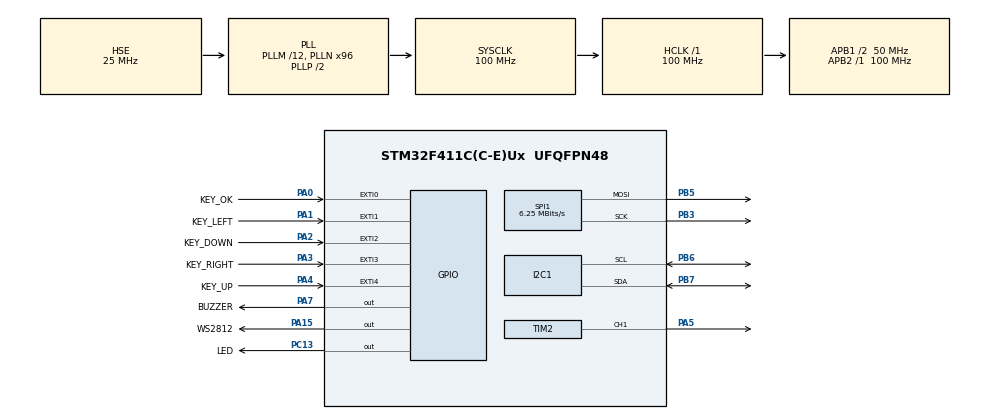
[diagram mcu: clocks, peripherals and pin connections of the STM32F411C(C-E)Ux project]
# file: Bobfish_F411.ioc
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Dma.I2C1_TX.0.Direction=DMA_MEMORY_TO_PERIPH
Dma.I2C1_TX.0.FIFOMode=DMA_FIFOMODE_DISABLE
Dma.I2C1_TX.0.Instance=DMA1_Stream1
Dma.I2C1_TX.0.MemDataAlignment=DMA_MDATAALIGN_BYTE
Dma.I2C1_TX.0.MemInc=DMA_MINC_ENABLE
Dma.I2C1_TX.0.Mode=DMA_NORMAL
Dma.I2C1_TX.0.PeriphDataAlignment=DMA_PDATAALIGN_BYTE
Dma.I2C1_TX.0.PeriphInc=DMA_PINC_DISABLE
Dma.I2C1_TX.0.Priority=DMA_PRIORITY_HIGH
Dma.Request0=I2C1_TX
Dma.Request1=SPI1_TX
Dma.Request2=TIM2_CH1
Dma.SPI1_TX.1.Direction=DMA_MEMORY_TO_PERIPH
Dma.SPI1_TX.1.FIFOMode=DMA_FIFOMODE_DISABLE
Dma.SPI1_TX.1.Instance=DMA2_Stream2
Dma.SPI1_TX.1.MemDataAlignment=DMA_MDATAALIGN_BYTE
Dma.SPI1_TX.1.MemInc=DMA_MINC_ENABLE
Dma.SPI1_TX.1.Mode=DMA_CIRCULAR
Dma.SPI1_TX.1.PeriphDataAlignment=DMA_PDATAALIGN_BYTE
Dma.SPI1_TX.1.PeriphInc=DMA_PINC_DISABLE
Dma.SPI1_TX.1.Priority=DMA_PRIORITY_VERY_HIGH
Dma.TIM2_CH1.2.Direction=DMA_MEMORY_TO_PERIPH
Dma.TIM2_CH1.2.FIFOMode=DMA_FIFOMODE_DISABLE
Dma.TIM2_CH1.2.Instance=DMA1_Stream5
Dma.TIM2_CH1.2.MemDataAlignment=DMA_MDATAALIGN_WORD
Dma.TIM2_CH1.2.MemInc=DMA_MINC_ENABLE
Dma.TIM2_CH1.2.Mode=DMA_CIRCULAR
Dma.TIM2_CH1.2.PeriphDataAlignment=DMA_PDATAALIGN_WORD
Dma.TIM2_CH1.2.PeriphInc=DMA_PINC_DISABLE
Dma.TIM2_CH1.2.Priority=DMA_PRIORITY_LOW
I2C1.I2C_Mode=I2C_Fast
Mcu.Family=STM32F4
Mcu.Name=STM32F411C(C-E)Ux
Mcu.Package=UFQFPN48
NVIC.DMA1_Stream1_IRQn=true\:0\:0\:false\:false\:true\:false\:true
NVIC.DMA1_Stream5_IRQn=true\:0\:0\:false\:false\:true\:false\:true
NVIC.DMA2_Stream2_IRQn=true\:0\:0\:false\:false\:true\:false\:true
NVIC.EXTI0_IRQn=true\:0\:0\:false\:false\:true\:true\:true
NVIC.EXTI1_IRQn=true\:0\:0\:false\:false\:true\:true\:true
NVIC.EXTI2_IRQn=true\:0\:0\:false\:false\:true\:true\:true
NVIC.EXTI3_IRQn=true\:0\:0\:false\:false\:true\:true\:true
NVIC.EXTI4_IRQn=true\:0\:0\:false\:false\:true\:true\:true
NVIC.I2C1_EV_IRQn=true\:0\:0\:false\:false\:true\:true\:true
NVIC.PriorityGroup=NVIC_PRIORITYGROUP_4
NVIC.SPI1_IRQn=true\:0\:0\:false\:false\:true\:true\:true
NVIC.TIM2_IRQn=true\:0\:0\:false\:false\:true\:true\:true
NVIC.TIM3_IRQn=true\:0\:0\:false\:false\:true\:true\:true
PA0-WKUP.GPIO_Label=KEY_OK
PA0-WKUP.GPIO_ModeDefaultEXTI=GPIO_MODE_IT_RISING_FALLING
PA0-WKUP.Signal=GPXTI0
PA1.GPIO_Label=KEY_LEFT
PA1.GPIO_ModeDefaultEXTI=GPIO_MODE_IT_RISING_FALLING
PA1.Signal=GPXTI1
PA13.Mode=Serial_Wire
PA13.Signal=SYS_JTMS-SWDIO
PA14.Mode=Serial_Wire
PA14.Signal=SYS_JTCK-SWCLK
PA15.GPIO_Label=WS2812
PA15.Signal=GPIO_Output
PA2.GPIO_Label=KEY_DOWN
PA2.GPIO_ModeDefaultEXTI=GPIO_MODE_IT_RISING_FALLING
PA2.Signal=GPXTI2
PA3.GPIO_Label=KEY_RIGHT
PA3.GPIO_ModeDefaultEXTI=GPIO_MODE_IT_RISING_FALLING
PA3.Signal=GPXTI3
PA4.GPIO_Label=KEY_UP
PA4.GPIO_ModeDefaultEXTI=GPIO_MODE_IT_RISING_FALLING
PA4.Signal=GPXTI4
PA5.Signal=S_TIM2_CH1_ETR
PA7.GPIO_Label=BUZZER
PA7.Signal=GPIO_Output
PB3.Mode=TX_Only_Simplex_Unidirect_Master
PB3.Signal=SPI1_SCK
PB5.Mode=TX_Only_Simplex_Unidirect_Master
PB5.Signal=SPI1_MOSI
PB6.GPIO_Pu=GPIO_PULLUP
PB6.Mode=I2C
PB6.Signal=I2C1_SCL
PB7.GPIO_Pu=GPIO_PULLUP
PB7.Mode=I2C
PB7.Signal=I2C1_SDA
PC13-ANTI_TAMP.GPIO_Label=LED
PC13-ANTI_TAMP.PinState=GPIO_PIN_SET
PC13-ANTI_TAMP.Signal=GPIO_Output
PC14-OSC32_IN.Mode=LSE-External-Oscillator
PC14-OSC32_IN.Signal=RCC_OSC32_IN
PC15-OSC32_OUT.Mode=LSE-External-Oscillator
PC15-OSC32_OUT.Signal=RCC_OSC32_OUT
PH0\ -\ OSC_IN.Mode=HSE-External-Oscillator
PH0\ -\ OSC_IN.Signal=RCC_OSC_IN
PH1\ -\ OSC_OUT.Mode=HSE-External-Oscillator
PH1\ -\ OSC_OUT.Signal=RCC_OSC_OUT
ProjectManager.HeapSize=0x200
ProjectManager.StackSize=0x400
ProjectManager.TargetToolchain=STM32CubeIDE
RCC.48MHZClocksFreq_Value=50000000
RCC.AHBFreq_Value=100000000
RCC.APB1CLKDivider=RCC_HCLK_DIV2
RCC.APB1Freq_Value=50000000
RCC.APB1TimFreq_Value=100000000
RCC.APB2Freq_Value=100000000
RCC.APB2TimFreq_Value=100000000
RCC.CortexFreq_Value=100000000
RCC.HCLKFreq_Value=100000000
RCC.HSE_VALUE=25000000
RCC.HSI_VALUE=16000000
RCC.PLLM=12
RCC.PLLN=96
RCC.PLLSourceVirtual=RCC_PLLSOURCE_HSE
RCC.RCC_RTC_Clock_Source=RCC_RTCCLKSOURCE_LSE
RCC.RCC_RTC_Clock_SourceVirtual=RCC_RTCCLKSOURCE_LSE
RCC.SYSCLKFreq_VALUE=100000000
RCC.SYSCLKSource=RCC_SYSCLKSOURCE_PLLCLK
RCC.VCOOutputFreq_Value=200000000
RTC.Date=28
RTC.Hours=12
RTC.Month=RTC_MONTH_MARCH
RTC.WeekDay=RTC_WEEKDAY_SATURDAY
RTC.Year=20
SH.S_TIM2_CH1_ETR.0=TIM2_CH1,PWM Generation1 CH1
SPI1.BaudRatePrescaler=SPI_BAUDRATEPRESCALER_16
SPI1.CLKPolarity=SPI_POLARITY_LOW
SPI1.CalculateBaudRate=6.25 MBits/s
SPI1.Direction=SPI_DIRECTION_2LINES
SPI1.Mode=SPI_MODE_MASTER
SPI1.VirtualType=VM_MASTER
TIM2.Channel-PWM\ Generation1\ CH1=TIM_CHANNEL_1
TIM2.Period=125
TIM3.Period=20-1
TIM3.Prescaler=50000
VP_RTC_VS_RTC_Activate.Mode=RTC_Enabled
VP_RTC_VS_RTC_Calendar.Mode=RTC_Calendar
VP_TIM2_VS_ClockSourceINT.Mode=Internal
VP_TIM3_VS_ClockSourceINT.Mode=Internal
board=custom

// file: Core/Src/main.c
/* USER CODE BEGIN Header */
/**
  ******************************************************************************
  * @file           : main.c
  * @brief          : Main program body
  ******************************************************************************
  * @attention
  *
  * <h2><center>&copy; Copyright (c) 2020 STMicroelectronics.
  * All rights reserved.</center></h2>
  *
  * This software component is licensed by ST under BSD 3-Clause license,
  * the "License"; You may not use this file except in compliance with the
  * License. You may obtain a copy of the License at:
  *                        opensource.org/licenses/BSD-3-Clause
  *
  ******************************************************************************
  */
/* USER CODE END Header */
#include "main.h"
#include "dma.h"
#include "i2c.h"
#include "rtc.h"
#include "spi.h"
#include "tim.h"
#include "gpio.h"

/* USER CODE BEGIN Includes */
#include "../WS_2812B_TIMER/ws2812b_tim.h"
#include "../MENU/menu.h"
#include "../BITMAPS/bitmaps.h"
#include "keyb.h"
#include "../EE_lib/ee.h"

/* USER CODE END Includes */

/* USER CODE BEGIN PV */
RTC_TimeTypeDef RtcTime;
RTC_DateTypeDef RtcDate;
uint8_t KEY_STATE;
uint32_t test_val;

/* USER CODE END PV */

void SystemClock_Config(void);
/* USER CODE BEGIN PFP */

void HAL_SYSTICK_Callback(void)
{
	//HAL_GPIO_TogglePin(LED_GPIO_Port, LED_Pin);
	//WS2812BFX_SysTickCallback();	// FX effects software timers
}

void HAL_TIM_PeriodElapsedCallback(TIM_HandleTypeDef *htim) {
	//wywo³ywanie funkcji sprawdzaj¹cej klawisze co 10ms
	if (htim->Instance == TIM3) KeybProc();
}

void HAL_GPIO_EXTI_Callback(uint16_t GPIO_Pin) {
//				43210
// KEY_STATE=xxxODRUL

	if (HAL_GPIO_ReadPin(KEY_LEFT_GPIO_Port, GPIO_Pin) == GPIO_PIN_RESET) {
		switch (GPIO_Pin) {

		case KEY_LEFT_Pin:
			KEY_STATE |= KEY_LEFT;
			//WS2812BFX_PrevMode(0);
			break;
		case KEY_UP_Pin:
			KEY_STATE |= KEY_UP;
			break;
		case KEY_RIGHT_Pin:
			KEY_STATE |= KEY_RIGHT;
			//WS2812BFX_NextMode(0);
			break;
		case KEY_DOWN_Pin:
			KEY_STATE |= KEY_DOWN;
			break;
		case KEY_OK_Pin:
			KEY_STATE |= KEY_OK;
			//HAL_GPIO_WritePin(BUZZER_GPIO_Port, BUZZER_Pin, GPIO_PIN_SET);
			break;
		}
	} else {
		switch (GPIO_Pin) {

		case KEY_LEFT_Pin:
			KEY_STATE &= ~KEY_LEFT;
			break;
		case KEY_UP_Pin:
			KEY_STATE &= ~KEY_UP;
			break;
		case KEY_RIGHT_Pin:
			KEY_STATE &= ~KEY_RIGHT;
			break;
		case KEY_DOWN_Pin:
			KEY_STATE &= ~KEY_DOWN;
			break;
		case KEY_OK_Pin:
			KEY_STATE &= ~KEY_OK;
			//HAL_GPIO_WritePin(BUZZER_GPIO_Port, BUZZER_Pin, GPIO_PIN_RESET);
			break;
		}
	}

}

/* USER CODE END PFP */

int main(void)
{

  /* MCU Configuration--------------------------------------------------------*/

  /* Reset of all peripherals, Initializes the Flash interface and the Systick. */
  HAL_Init();

  /* Configure the system clock */
  SystemClock_Config();

  /* Initialize all configured peripherals */
  MX_GPIO_Init();
  MX_DMA_Init();
  MX_I2C1_Init();
  MX_RTC_Init();
  MX_TIM2_Init();
  MX_SPI1_Init();
  MX_TIM3_Init();
  /* USER CODE BEGIN 2 */
//  ee_init();
//  //menu_variables_save_eeprom();
//
//  uint8_t data[32];
//  //ee_read(4, 32, data);
//	for(int i=0;i<8;i++){
//		ee_read(i*4, 4, &data[i*4]);
//	}

  menu_init(&hi2c1);

  ws2812b_init(&htim2, TIM_CHANNEL_1);

  HAL_TIM_Base_Start_IT(&htim3);

  HAL_RTC_GetTime(&hrtc, &RtcTime, RTC_FORMAT_BIN);
  HAL_RTC_GetDate(&hrtc, &RtcDate, RTC_FORMAT_BIN);

  menu_refresh();

  test_val=sizeof(float);

  /* USER CODE END 2 */

  /* Infinite loop */
  /* USER CODE BEGIN WHILE */
  while (1)
  {
	  allColor_t *temp_color=kolorDzien_var.color;
	switch(temp_color->type){
	case _ColorRGB:
		for(uint8_t i=0;i<NUMBER_OF_LEDS;i++)
		ws2812b_setRgb(i, temp_color->rgb.r, temp_color->rgb.g, temp_color->rgb.b, GammaCorrectionRGB_var.byte);
		break;
	case _ColorHSV:
		for(uint8_t i=0;i<NUMBER_OF_LEDS;i++)
		ws2812b_setHSV(i, temp_color->hsv.h, temp_color->hsv.s, temp_color->hsv.v, GammaCorrectionHSV_var.byte);
		break;
	case _ColorTemp:
		for(uint8_t i=0;i<NUMBER_OF_LEDS;i++)
		ws2812b_setKelvin(i, temp_color->temp, GammaCorrectionTEMPERATURE_var.byte);
		break;
	}

	ws2812b_refresh();

	if(IsKey(ANYKEY)&&buzzer_state.byte){
	  HAL_GPIO_WritePin(BUZZER_GPIO_Port, BUZZER_Pin, GPIO_PIN_SET);
	  HAL_Delay(1);
	  HAL_GPIO_WritePin(BUZZER_GPIO_Port, BUZZER_Pin, GPIO_PIN_RESET);
	}
	uint8_t key=GetKeys();
	key_press(key);

	HAL_RTC_GetTime(&hrtc, &RtcTime, RTC_FORMAT_BIN);
	HAL_RTC_GetDate(&hrtc, &RtcDate, RTC_FORMAT_BIN);

	refresh_func();
	if (hi2c1.hdmatx->State == HAL_DMA_STATE_READY) SSD1306_Display(); //odświerzenie DMA(tym samym wyświetlacza)

    /* USER CODE END WHILE */

  }
}

void SystemClock_Config(void)
{
  RCC_OscInitTypeDef RCC_OscInitStruct = {0};
  RCC_ClkInitTypeDef RCC_ClkInitStruct = {0};

  /** Configure the main internal regulator output voltage
  */
  __HAL_RCC_PWR_CLK_ENABLE();
  __HAL_PWR_VOLTAGESCALING_CONFIG(PWR_REGULATOR_VOLTAGE_SCALE1);
  /** Initializes the RCC Oscillators according to the specified parameters
  * in the RCC_OscInitTypeDef structure.
  */
  RCC_OscInitStruct.OscillatorType = RCC_OSCILLATORTYPE_HSE|RCC_OSCILLATORTYPE_LSE;
  RCC_OscInitStruct.HSEState = RCC_HSE_ON;
  RCC_OscInitStruct.LSEState = RCC_LSE_ON;
  RCC_OscInitStruct.PLL.PLLState = RCC_PLL_ON;
  RCC_OscInitStruct.PLL.PLLSource = RCC_PLLSOURCE_HSE;
  RCC_OscInitStruct.PLL.PLLM = 12;
  RCC_OscInitStruct.PLL.PLLN = 96;
  RCC_OscInitStruct.PLL.PLLP = RCC_PLLP_DIV2;
  RCC_OscInitStruct.PLL.PLLQ = 4;
  if (HAL_RCC_OscConfig(&RCC_OscInitStruct) != HAL_OK)
  {
    Error_Handler();
  }
  /** Initializes the CPU, AHB and APB buses clocks
  */
  RCC_ClkInitStruct.ClockType = RCC_CLOCKTYPE_HCLK|RCC_CLOCKTYPE_SYSCLK
                              |RCC_CLOCKTYPE_PCLK1|RCC_CLOCKTYPE_PCLK2;
  RCC_ClkInitStruct.SYSCLKSource = RCC_SYSCLKSOURCE_PLLCLK;
  RCC_ClkInitStruct.AHBCLKDivider = RCC_SYSCLK_DIV1;
  RCC_ClkInitStruct.APB1CLKDivider = RCC_HCLK_DIV2;
  RCC_ClkInitStruct.APB2CLKDivider = RCC_HCLK_DIV1;

  if (HAL_RCC_ClockConfig(&RCC_ClkInitStruct, FLASH_LATENCY_3) != HAL_OK)
  {
    Error_Handler();
  }
}

void Error_Handler(void)
{
}

/************************ (C) COPYRIGHT STMicroelectronics *****END OF FILE****/
